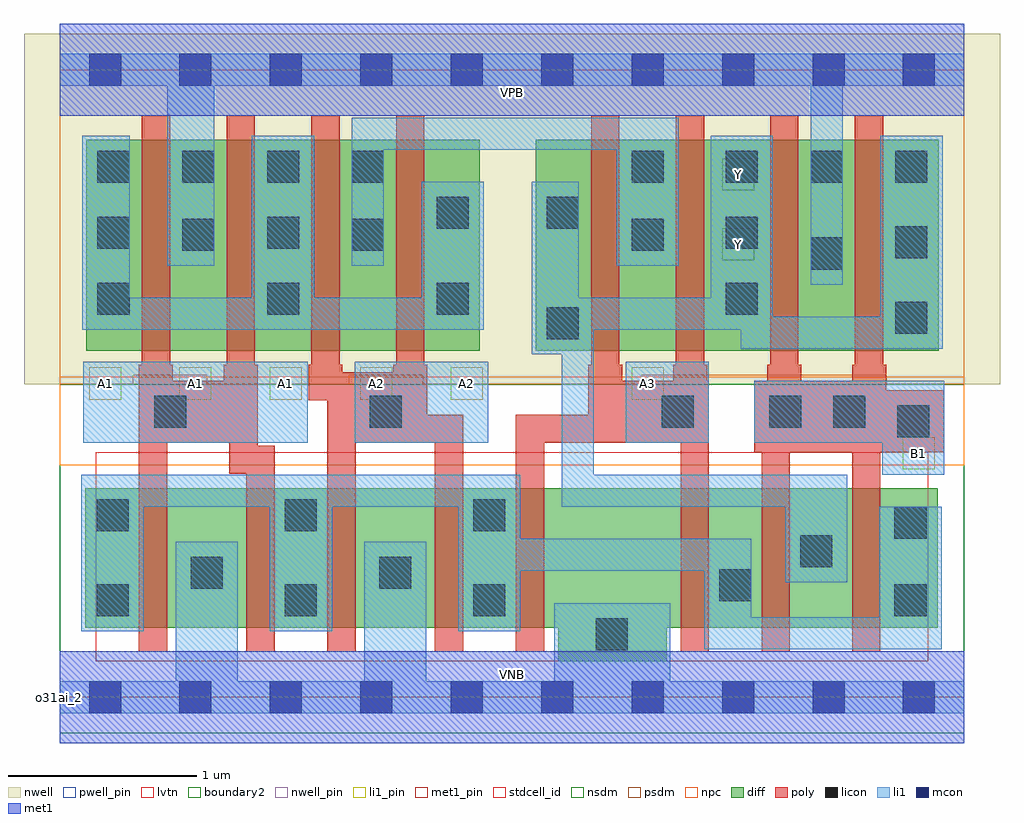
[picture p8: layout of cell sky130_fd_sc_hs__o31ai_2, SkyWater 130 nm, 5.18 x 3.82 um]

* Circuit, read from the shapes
.subckt sky130_fd_sc_hs__o31ai_2 A1 A2 A3 B1 VGND VNB VPB VPWR Y
XM1 VGND A1 n1 VNB sky130_fd_pr__nfet_01v8_lvt w=0.74 l=0.15 m=2
XM2 VGND A2 n1 VNB sky130_fd_pr__nfet_01v8_lvt w=0.74 l=0.15 m=2
XM3 VGND A3 n1 VNB sky130_fd_pr__nfet_01v8_lvt w=0.74 l=0.15 m=2
XM4 Y B1 n1 VNB sky130_fd_pr__nfet_01v8_lvt w=0.74 l=0.15 m=2
XM5 VPWR A1 n2 VPB sky130_fd_pr__pfet_01v8 w=1.12 l=0.15 m=2
XM6 n3 A2 n2 VPB sky130_fd_pr__pfet_01v8 w=1.12 l=0.15 m=2
XM7 n3 A3 Y VPB sky130_fd_pr__pfet_01v8 w=1.12 l=0.15 m=2
XM8 VPWR B1 Y VPB sky130_fd_pr__pfet_01v8 w=1.12 l=0.15 m=2
.ends

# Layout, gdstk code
import gdstk
lib = gdstk.Library(unit=1e-6, precision=1e-09)
def R(c, l, rs):  # rectangles x0, y0, x1, y1
    for r in rs: c.add(gdstk.rectangle(r[:2], r[2:], *l))
def A(c, l, x, y, w, h, nx, ny, dx, dy):  # array of equal rectangles
    R(c, l, [(x+i*dx, y+j*dy, x+i*dx+w, y+j*dy+h) for i in range(nx) for j in range(ny)])
def P(c, l, *ps):  # polygons
    for p in ps: c.add(gdstk.Polygon(p, *l))
nwell_pin = (64, 16)
nwell = (64, 20)
diff = (65, 20)
poly = (66, 20)
licon = (66, 44)
li1_pin = (67, 16)
li1 = (67, 20)
mcon = (67, 44)
met1_pin = (68, 16)
met1 = (68, 20)
stdcell_id = (81, 4)
nsdm = (93, 44)
psdm = (94, 20)
npc = (95, 20)
pwell_pin = (122, 16)
lvtn = (125, 44)
boundary2 = (236, 0)

sky130_fd_sc_hs__o31ai_2 = lib.new_cell('sky130_fd_sc_hs__o31ai_2')
R(sky130_fd_sc_hs__o31ai_2, nwell_pin, [(0,3.085,4.8,3.33)])
R(sky130_fd_sc_hs__o31ai_2, nwell, [(-0.19,1.66,4.99,3.52)])
R(sky130_fd_sc_hs__o31ai_2, diff, [(0.14,1.84,2.23,2.96), (2.525,1.84,4.665,2.96)])
P(sky130_fd_sc_hs__o31ai_2, diff, [(4.66,1.11),(0.135,1.11),(0.135,0.37),(2.645,0.37),(2.645,0.19),(3.22,0.19),(3.22,0.37),(4.66,0.37)])
P(sky130_fd_sc_hs__o31ai_2, poly, [(4.695,1.63),(4.385,1.63),(4.385,1.765),(4.37,1.765),(4.37,3.09),(4.22,3.09),(4.22,1.765),(4.205,1.765),(4.205,1.68),(3.935,1.68),(3.935,1.765),(3.92,1.765),(3.92,3.09),(3.77,3.09),(3.77,1.765),(3.755,1.765),(3.755,1.68),(3.685,1.68),(3.685,1.3),(3.725,1.3),(3.725,0.24),(3.875,0.24),(3.875,1.3),(4.205,1.3),(4.205,0.24),(4.355,0.24),(4.355,1.3),(4.695,1.3)],
  [(3.445,1.68),(3.435,1.68),(3.435,1.765),(3.42,1.765),(3.42,3.09),(3.27,3.09),(3.27,1.765),(3.255,1.765),(3.255,1.68),(2.985,1.68),(2.985,1.765),(2.97,1.765),(2.97,3.09),(2.82,3.09),(2.82,1.765),(2.805,1.765),(2.805,1.5),(2.42,1.5),(2.42,0.24),(2.57,0.24),(2.57,1.35),(3.295,1.35),(3.295,0.24),(3.445,0.24)],
  [(2.14,1.5),(1.95,1.5),(1.95,1.765),(1.935,1.765),(1.935,3.09),(1.785,3.09),(1.785,1.765),(1.77,1.765),(1.77,1.725),(1.5,1.725),(1.5,1.765),(1.485,1.765),(1.485,3.09),(1.335,3.09),(1.335,1.765),(1.32,1.765),(1.32,1.575),(1.42,1.575),(1.42,0.24),(1.57,0.24),(1.57,1.35),(1.99,1.35),(1.99,0.24),(2.14,0.24)],
  [(1.14,1.335),(1.05,1.335),(1.05,1.765),(1.035,1.765),(1.035,3.09),(0.885,3.09),(0.885,1.765),(0.87,1.765),(0.87,1.68),(0.6,1.68),(0.6,1.765),(0.585,1.765),(0.585,3.09),(0.435,3.09),(0.435,1.765),(0.42,1.765),(0.42,0.24),(0.57,0.24),(0.57,1.35),(0.9,1.35),(0.9,1.185),(0.99,1.185),(0.99,0.24),(1.14,0.24)])
A(sky130_fd_sc_hs__o31ai_2, licon, 0.195, 0.43, 0.17, 0.17, 3, 2, 1, 0.45)
A(sky130_fd_sc_hs__o31ai_2, licon, 0.2, 2.03, 0.17, 0.17, 3, 1, 0.9, 0)
A(sky130_fd_sc_hs__o31ai_2, licon, 0.2, 2.73, 0.17, 0.17, 4, 1, 0.45, 0)
A(sky130_fd_sc_hs__o31ai_2, licon, 3.535, 2.73, 0.17, 0.17, 3, 1, 0.45, 0)
R(sky130_fd_sc_hs__o31ai_2, licon, [(2.845,0.25,3.015,0.42), (4.43,0.43,4.6,0.6), (3.5,0.51,3.67,0.68), (0.695,0.575,0.865,0.745), (1.695,0.575,1.865,0.745), (3.93,0.69,4.1,0.86), (4.43,0.84,4.6,1.01), (4.445,1.38,4.615,1.55), (0.5,1.43,0.67,1.6), (1.645,1.43,1.815,1.6), (3.195,1.43,3.365,1.6), (3.765,1.43,3.935,1.6), (4.105,1.43,4.275,1.6), (2.585,1.9,2.755,2.07), (4.435,1.93,4.605,2.1), (3.535,2.03,3.705,2.2), (3.985,2.27,4.155,2.44), (4.435,2.33,4.605,2.5), (0.65,2.37,0.82,2.54), (1.55,2.37,1.72,2.54), (3.035,2.37,3.205,2.54), (0.2,2.38,0.37,2.55), (1.1,2.38,1.27,2.55), (3.535,2.38,3.705,2.55), (2,2.485,2.17,2.655), (2.585,2.485,2.755,2.655), (3.035,2.73,3.205,2.9)])
A(sky130_fd_sc_hs__o31ai_2, li1_pin, 0.155, 1.58, 0.17, 0.17, 5, 1, 0.48, 0)
R(sky130_fd_sc_hs__o31ai_2, li1_pin, [(4.475,1.21,4.645,1.38), (3.035,1.58,3.205,1.75), (3.515,2.32,3.685,2.49), (3.515,2.69,3.685,2.86)])
R(sky130_fd_sc_hs__o31ai_2, li1, [(0.125,1.35,1.315,1.78), (1.565,1.35,2.275,1.78), (3.005,1.35,3.445,1.78)])
P(sky130_fd_sc_hs__o31ai_2, li1, [(0,-0.085),(0,0.085),(0.615,0.085),(0.615,0.825),(0.945,0.825),(0.945,0.085),(1.615,0.085),(1.615,0.825),(1.945,0.825),(1.945,0.085),(2.625,0.085),(2.625,0.5),(3.24,0.5),(3.24,0.085),(4.8,0.085),(4.8,-0.085)],
  [(0,3.245),(0,3.415),(4.8,3.415),(4.8,3.245),(4.155,3.245),(4.155,2.19),(3.985,2.19),(3.985,3.245),(0.82,3.245),(0.82,2.29),(0.57,2.29),(0.57,3.245)],
  [(4.365,1.18),(4.365,1.35),(3.685,1.35),(3.685,1.68),(4.695,1.68),(4.695,1.18)],
  [(3.455,2.12),(3.455,2.98),(3.785,2.98),(3.785,2.02),(4.355,2.02),(4.355,2.98),(4.685,2.98),(4.685,1.85),(3.615,1.85),(3.615,1.95),(2.835,1.95),(2.835,1.18),(4.18,1.18),(4.18,0.61),(3.85,0.61),(3.85,1.01),(2.665,1.01),(2.665,1.82),(2.505,1.82),(2.505,2.735),(2.755,2.735),(2.755,2.12)],
  [(0.37,2.12),(1.02,2.12),(1.02,2.98),(1.35,2.98),(1.35,2.12),(1.92,2.12),(1.92,2.735),(2.25,2.735),(2.25,1.95),(0.12,1.95),(0.12,2.98),(0.37,2.98)],
  [(1.115,0.35),(1.115,1.01),(0.445,1.01),(0.445,0.35),(0.115,0.35),(0.115,1.18),(2.445,1.18),(2.445,0.84),(3.67,0.84),(3.67,0.425),(4.35,0.425),(4.35,1.01),(4.68,1.01),(4.68,0.255),(3.42,0.255),(3.42,0.67),(2.445,0.67),(2.445,0.35),(2.115,0.35),(2.115,1.01),(1.445,1.01),(1.445,0.35)],
  [(2.955,2.29),(2.955,2.905),(1.72,2.905),(1.72,2.29),(1.55,2.29),(1.55,3.075),(3.285,3.075),(3.285,2.29)])
A(sky130_fd_sc_hs__o31ai_2, mcon, 0.155, -0.085, 0.17, 0.17, 10, 2, 0.48, 3.33)
R(sky130_fd_sc_hs__o31ai_2, met1_pin, [(0,0,4.8,0.245), (0,3.085,4.8,3.33)])
R(sky130_fd_sc_hs__o31ai_2, met1, [(0,-0.245,4.8,0.245), (0,3.085,4.8,3.575)])
R(sky130_fd_sc_hs__o31ai_2, stdcell_id, [(0,0,4.8,3.33)])
R(sky130_fd_sc_hs__o31ai_2, nsdm, [(0,-0.19,4.8,1.66)])
P(sky130_fd_sc_hs__o31ai_2, psdm, [(4.8,3.52),(0,3.52),(0,1.66),(0.39,1.66),(0.39,1.71),(0.78,1.71),(0.78,1.66),(1.535,1.66),(1.535,1.71),(1.925,1.71),(1.925,1.66),(3.085,1.66),(3.085,1.71),(4.385,1.71),(4.385,1.66),(4.8,1.66)])
R(sky130_fd_sc_hs__o31ai_2, npc, [(0,1.23,4.8,1.7)])
R(sky130_fd_sc_hs__o31ai_2, pwell_pin, [(0,0,4.8,0.245)])
R(sky130_fd_sc_hs__o31ai_2, lvtn, [(0.19,0.19,4.61,1.3)])
R(sky130_fd_sc_hs__o31ai_2, boundary2, [(0,0,4.8,3.33)])
sky130_fd_sc_hs__o31ai_2.add(gdstk.Label('o31ai_2', (0,0), layer=83, texttype=44))
sky130_fd_sc_hs__o31ai_2.add(gdstk.Label('VNB', (2.4,0.123), layer=64, texttype=59))
sky130_fd_sc_hs__o31ai_2.add(gdstk.Label('VPB', (2.4,3.208), layer=64, texttype=5))
sky130_fd_sc_hs__o31ai_2.add(gdstk.Label('VPWR', (2.4,3.208), layer=68, texttype=5))
sky130_fd_sc_hs__o31ai_2.add(gdstk.Label('VGND', (2.4,0.123), layer=68, texttype=5))
sky130_fd_sc_hs__o31ai_2.add(gdstk.Label('A2', (1.68,1.665), layer=67, texttype=5))
sky130_fd_sc_hs__o31ai_2.add(gdstk.Label('A2', (2.16,1.665), layer=67, texttype=5))
sky130_fd_sc_hs__o31ai_2.add(gdstk.Label('B1', (4.56,1.295), layer=67, texttype=5))
sky130_fd_sc_hs__o31ai_2.add(gdstk.Label('A3', (3.12,1.665), layer=67, texttype=5))
sky130_fd_sc_hs__o31ai_2.add(gdstk.Label('A1', (0.24,1.665), layer=67, texttype=5))
sky130_fd_sc_hs__o31ai_2.add(gdstk.Label('A1', (0.72,1.665), layer=67, texttype=5))
sky130_fd_sc_hs__o31ai_2.add(gdstk.Label('A1', (1.2,1.665), layer=67, texttype=5))
sky130_fd_sc_hs__o31ai_2.add(gdstk.Label('Y', (3.6,2.405), layer=67, texttype=5))
sky130_fd_sc_hs__o31ai_2.add(gdstk.Label('Y', (3.6,2.775), layer=67, texttype=5))

lib.write_gds('sky130_fd_sc_hs__o31ai_2.gds')
